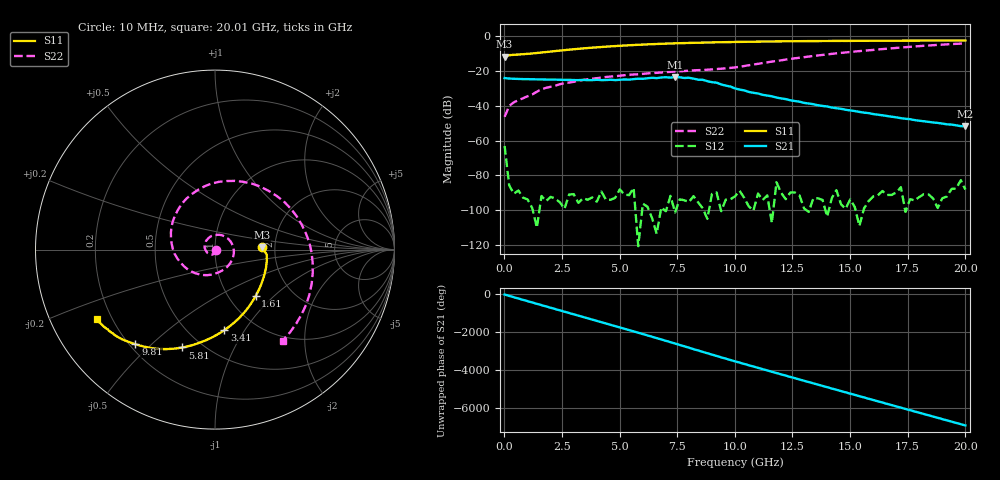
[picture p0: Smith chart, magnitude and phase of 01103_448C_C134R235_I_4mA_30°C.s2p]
!;Filter: kein Filter
!auto
!3/21/2019 9:25:24 AM
!3/21/2019 9:25:40 AM
!SP-Measurements Prober G4
!SP-Measurements Prober G4
!01103_448C
!134
!235
!12
!30
!-20
!0.00399976
!1.88
!0.54220246
!0.54220246
# Hz S  RI  R 50
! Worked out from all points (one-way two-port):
!   101 points, 10 MHz to 20.01 GHz, reference 50 ohm
!   highest |S21| = -23.39 dB at 7.41 GHz (marker M1); lowest = -51.7 dB at 20.01 GHz (marker M2)
!   lowest |S11| = -11.7 dB at 10 MHz (marker M3), VSWR 1.71, Z = 85.2 + j2.37 ohm
!   |S11| at or under -10 dB: start of sweep to 1.028 GHz
!   |S22| runs from -46.3 to -4.0 dB; largest |S21 - S12| = 0.068
!   S11 on the Smith chart (normalised r, x): 10 MHz: 1.70, +0.05; 1.61 GHz: 1.32, -0.78; 3.41 GHz: 0.72, -0.82; 5.81 GHz: 0.40, -0.64; 9.81 GHz: 0.22, -0.45; 20.01 GHz: 0.15, -0.27
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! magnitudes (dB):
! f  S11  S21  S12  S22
! 10 MHz  -11.7  -24.0  -63.1  -46.3
! 210 MHz  -10.8  -24.2  -85.7  -40.0
! 410 MHz  -10.6  -24.4  -90.5  -37.9
! 1.21 GHz  -9.8  -24.7  -98.8  -33.4
! 1.61 GHz  -9.3  -24.7  -91.8  -30.4
! 2.61 GHz  -7.9  -25.0  -99.2  -26.9
! 3.41 GHz  -6.9  -25.0  -93.1  -25.0
! 4.81 GHz  -5.6  -25.1  -92.9  -22.9
! 5.81 GHz  -4.8  -24.3  -120.7  -21.8
! 6.81 GHz  -4.2  -23.6  -98.4  -20.8
! 7.41 GHz  -4.0  -23.4  -101.3  -20.2
! 8.01 GHz  -3.7  -23.8  -95.3  -19.7
! 8.41 GHz  -3.6  -24.9  -95.5  -19.4
! 8.61 GHz  -3.6  -25.0  -98.9  -19.3
! 9.21 GHz  -3.4  -26.6  -89.7  -18.8
! 9.41 GHz  -3.3  -27.6  -100.6  -18.6
! 9.81 GHz  -3.2  -28.8  -93.7  -18.1
! 10.01 GHz  -3.2  -29.9  -92.1  -17.8
! 11.21 GHz  -3.0  -33.6  -94.1  -15.3
! 13.41 GHz  -2.7  -39.0  -93.2  -11.3
! 16.81 GHz  -2.4  -46.2  -91.2  -6.8
! 20.01 GHz  -2.4  -51.7  -88.1  -4.0
